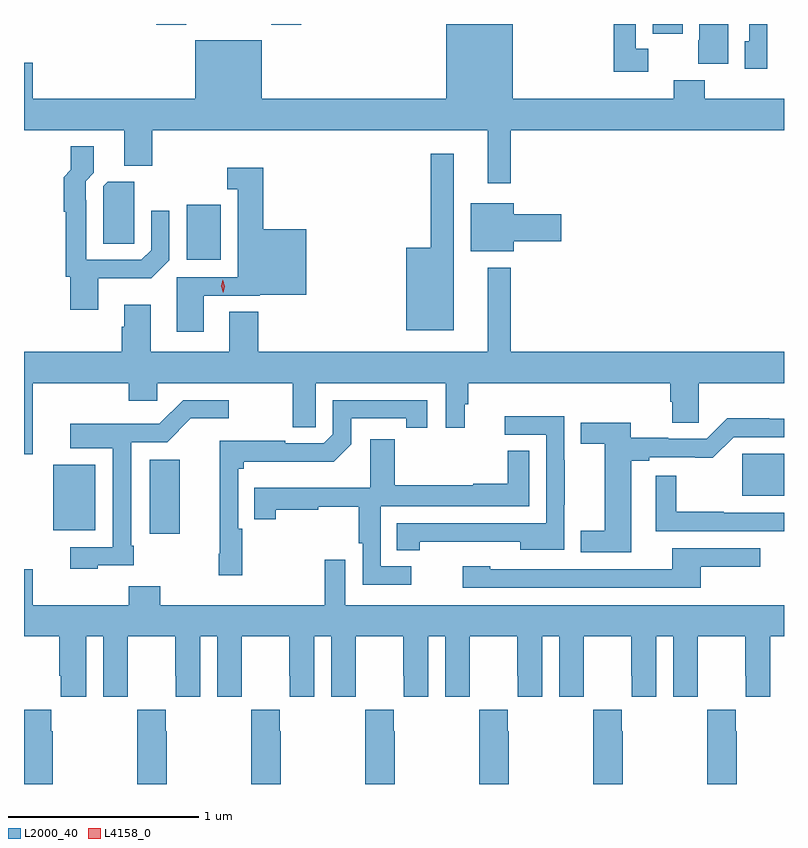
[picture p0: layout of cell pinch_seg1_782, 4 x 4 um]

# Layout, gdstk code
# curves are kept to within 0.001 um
import gdstk
lib = gdstk.Library(unit=1e-6, precision=1e-09)
def R(c, l, rs):  # rectangles x0, y0, x1, y1
    for r in rs: c.add(gdstk.rectangle(r[:2], r[2:], *l))
def P(c, l, *ps):  # polygons
    for p in ps: c.add(gdstk.Polygon(p, *l))
L2000_40 = (2000, 40)
L4158_0 = (4158, 0)

pinch_seg1_782 = lib.new_cell('pinch_seg1_782')
R(pinch_seg1_782, L2000_40, [(393.56,574.914,393.718,575.305), (393.053,574.934,393.274,575.278), (396.677,575.114,396.898,575.335), (393.755,576.356,393.934,576.646), (396.206,577.548,396.364,577.598), (393.593,577.593,393.753,577.598), (394.198,577.593,394.358,577.598)])
P(pinch_seg1_782, L2000_40, [(392.898,577.393),(392.898,577.04),(393.425,577.04),(393.425,576.853),(393.573,576.853),(393.573,577.04),(395.339,577.04),(395.339,576.759),(395.461,576.759),(395.461,577.04),(396.898,577.04),(396.898,577.204),(396.482,577.204),(396.482,577.303),(396.317,577.303),(396.317,577.204),(395.47,577.204),(395.47,577.598),(395.12,577.598),(395.12,577.204),(394.15,577.204),(394.15,577.513),(393.8,577.513),(393.8,577.204),(392.944,577.204),(392.944,577.393)],
  [(396.81,577.598),(396.714,577.598),(396.714,577.506),(396.692,577.506),(396.692,577.362),(396.81,577.362)],
  [(396.184,577.467),(396.117,577.467),(396.117,577.598),(396.001,577.598),(396.001,577.347),(396.184,577.347)],
  [(396.604,577.598),(396.452,577.598),(396.452,577.512),(396.446,577.512),(396.446,577.388),(396.604,577.388)],
  [(393.289,576.26),(393.569,576.26),(393.663,576.354),(393.663,576.616),(393.567,576.616),(393.567,576.408),(393.516,576.357),(393.225,576.357),(393.225,576.671),(393.222,576.671),(393.222,576.771),(393.265,576.814),(393.265,576.955),(393.145,576.955),(393.145,576.831),(393.107,576.792),(393.107,576.61),(393.117,576.61),(393.117,576.267),(393.142,576.267),(393.142,576.093),(393.289,576.093)],
  [(395.161,576.916),(395.04,576.916),(395.04,576.421),(394.91,576.421),(394.91,575.987),(395.161,575.987)],
  [(393.844,576.168),(394.14,576.168),(394.14,576.173),(394.384,576.173),(394.384,576.517),(394.157,576.517),(394.157,576.841),(393.969,576.841),(393.969,576.728),(394.022,576.728),(394.022,576.264),(393.701,576.264),(393.701,575.979),(393.844,575.979)],
  [(393.477,576.553),(393.478,576.553),(393.478,576.768),(393.339,576.768),(393.315,576.744),(393.315,576.442),(393.477,576.442)],
  [(395.476,576.455),(395.725,576.455),(395.725,576.597),(395.476,576.597),(395.476,576.655),(395.249,576.655),(395.249,576.401),(395.476,576.401)],
  [(392.944,575.708),(393.449,575.708),(393.449,575.615),(393.6,575.615),(393.6,575.708),(394.312,575.708),(394.312,575.476),(394.434,575.476),(394.434,575.708),(395.117,575.708),(395.117,575.472),(395.218,575.472),(395.218,575.598),(395.236,575.598),(395.236,575.708),(396.299,575.708),(396.299,575.61),(396.311,575.61),(396.311,575.5),(396.45,575.5),(396.45,575.708),(396.898,575.708),(396.898,575.872),(395.461,575.872),(395.461,576.316),(395.339,576.316),(395.339,575.872),(394.13,575.872),(394.13,576.083),(393.977,576.083),(393.977,575.872),(393.565,575.872),(393.565,576.121),(393.425,576.121),(393.425,576.005),(393.413,576.005),(393.413,575.872),(392.898,575.872),(392.898,575.334),(392.944,575.334)],
  [(394.046,574.942),(394.026,574.942),(394.026,575.256),(394.054,575.256),(394.054,575.294),(394.529,575.294),(394.62,575.385),(394.62,575.523),(394.91,575.523),(394.91,575.472),(395.02,575.472),(395.02,575.619),(394.524,575.619),(394.524,575.439),(394.476,575.391),(394.273,575.391),(394.273,575.404),(393.929,575.404),(393.929,574.81),(393.923,574.81),(393.923,574.698),(394.046,574.698)],
  [(393.285,574.749),(393.475,574.749),(393.475,574.852),(393.462,574.852),(393.462,575.397),(393.651,575.397),(393.776,575.522),(393.976,575.522),(393.976,575.619),(393.737,575.619),(393.611,575.493),(393.141,575.494),(393.141,575.366),(393.366,575.366),(393.366,574.845),(393.141,574.845),(393.141,574.73),(393.285,574.73)],
  [(394.98,574.874),(395.51,574.874),(395.51,574.832),(395.742,574.832),(395.742,575.068),(395.744,575.068),(395.744,575.303),(395.742,575.303),(395.742,575.533),(395.427,575.533),(395.427,575.436),(395.646,575.436),(395.646,574.971),(394.861,574.971),(394.861,574.828),(394.98,574.828)],
  [(396.094,575.299),(396.19,575.299),(396.19,575.319),(396.431,575.319),(396.431,575.314),(396.523,575.314),(396.633,575.424),(396.898,575.424),(396.898,575.52),(396.821,575.52),(396.821,575.522),(396.599,575.522),(396.492,575.415),(396.288,575.415),(396.288,575.42),(396.091,575.42),(396.091,575.5),(395.827,575.5),(395.827,575.389),(395.954,575.389),(395.954,574.932),(395.827,574.932),(395.827,574.817),(396.094,574.817)],
  [(394.936,574.743),(394.776,574.743),(394.776,575.061),(395.556,575.061),(395.556,575.351),(395.444,575.351),(395.444,575.177),(395.263,575.177),(395.263,575.17),(394.849,575.17),(394.849,575.413),(394.721,575.413),(394.721,575.158),(394.111,575.158),(394.111,574.992),(394.222,574.992),(394.222,575.041),(394.446,575.041),(394.446,575.056),(394.66,575.056),(394.66,574.864),(394.68,574.864),(394.68,574.647),(394.936,574.647)],
  [(396.898,575.025),(396.581,575.025),(396.581,575.03),(396.331,575.03),(396.331,575.221),(396.222,575.221),(396.222,574.929),(396.898,574.929)],
  [(396.459,574.742),(396.772,574.742),(396.772,574.839),(396.311,574.839),(396.311,574.728),(395.352,574.728),(395.352,574.744),(395.208,574.744),(395.208,574.632),(396.459,574.632)],
  [(393.226,574.376),(393.314,574.376),(393.314,574.056),(393.444,574.056),(393.444,574.168),(393.445,574.168),(393.445,574.376),(393.695,574.376),(393.695,574.168),(393.696,574.168),(393.696,574.056),(393.826,574.056),(393.826,574.376),(393.914,574.376),(393.914,574.056),(394.044,574.056),(394.044,574.168),(394.045,574.168),(394.045,574.376),(394.295,574.376),(394.295,574.168),(394.296,574.168),(394.296,574.056),(394.426,574.056),(394.426,574.376),(394.514,574.376),(394.514,574.056),(394.644,574.056),(394.644,574.168),(394.645,574.168),(394.645,574.376),(394.895,574.376),(394.895,574.168),(394.896,574.168),(394.896,574.056),(395.026,574.056),(395.026,574.376),(395.114,574.376),(395.114,574.056),(395.244,574.056),(395.244,574.168),(395.245,574.168),(395.245,574.376),(395.495,574.376),(395.495,574.168),(395.496,574.168),(395.496,574.056),(395.626,574.056),(395.626,574.376),(395.714,574.376),(395.714,574.056),(395.844,574.056),(395.844,574.168),(395.845,574.168),(395.845,574.376),(396.095,574.376),(396.095,574.168),(396.096,574.168),(396.096,574.056),(396.226,574.056),(396.226,574.376),(396.314,574.376),(396.314,574.056),(396.444,574.056),(396.444,574.168),(396.445,574.168),(396.445,574.376),(396.695,574.376),(396.695,574.168),(396.696,574.168),(396.696,574.056),(396.826,574.056),(396.826,574.376),(396.898,574.376),(396.898,574.54),(394.59,574.54),(394.59,574.777),(394.482,574.777),(394.482,574.54),(393.614,574.54),(393.614,574.639),(393.449,574.639),(393.449,574.54),(392.944,574.54),(392.944,574.729),(392.898,574.729),(392.898,574.376),(393.083,574.376),(393.083,574.168),(393.092,574.168),(393.092,574.056),(393.226,574.056)],
  [(396.048,573.875),(396.045,573.875),(396.045,573.988),(395.895,573.988),(395.895,573.875),(395.893,573.875),(395.893,573.598),(396.048,573.598)],
  [(393.048,573.875),(393.041,573.875),(393.041,573.988),(392.898,573.988),(392.898,573.598),(393.048,573.598)],
  [(393.648,573.875),(393.645,573.875),(393.645,573.988),(393.495,573.988),(393.495,573.875),(393.493,573.875),(393.493,573.598),(393.648,573.598)],
  [(394.248,573.875),(394.245,573.875),(394.245,573.988),(394.095,573.988),(394.095,573.875),(394.093,573.875),(394.093,573.598),(394.248,573.598)],
  [(394.848,573.875),(394.845,573.875),(394.845,573.988),(394.695,573.988),(394.695,573.875),(394.693,573.875),(394.693,573.598),(394.848,573.598)],
  [(395.448,573.875),(395.445,573.875),(395.445,573.988),(395.295,573.988),(395.295,573.875),(395.293,573.875),(395.293,573.598),(395.448,573.598)],
  [(396.648,573.875),(396.645,573.875),(396.645,573.988),(396.495,573.988),(396.495,573.875),(396.493,573.875),(396.493,573.598),(396.648,573.598)])
P(pinch_seg1_782, L4158_0, [(393.946,576.183),(393.946,576.183),(393.935,576.218),(393.944,576.252),(393.944,576.253),(393.944,576.252),(393.955,576.218),(393.946,576.183)])

lib.write_gds('pinch_seg1_782.gds')
